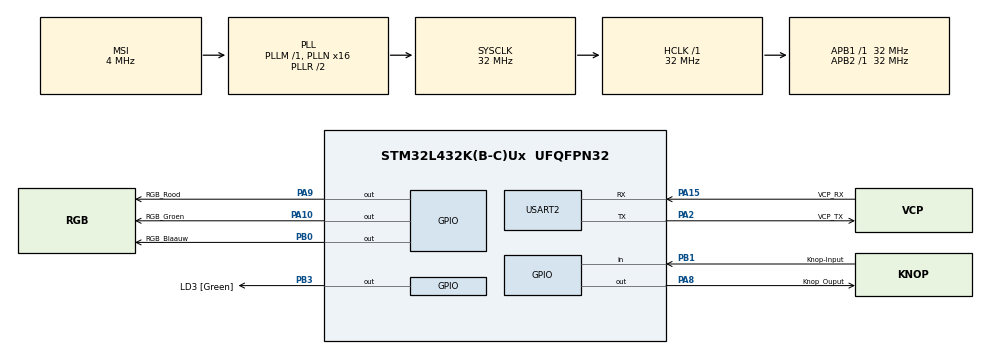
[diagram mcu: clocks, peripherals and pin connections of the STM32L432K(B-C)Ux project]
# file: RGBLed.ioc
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Mcu.Family=STM32L4
Mcu.Name=STM32L432K(B-C)Ux
Mcu.Package=UFQFPN32
NVIC.PriorityGroup=NVIC_PRIORITYGROUP_4
PA0.GPIO_Label=MCO [High speed clock in]
PA0.Mode=HSE-External-Clock-Source-for-LittleOrca
PA0.Signal=RCC_CK_IN
PA10.GPIO_Label=RGB_Groen
PA10.Signal=GPIO_Output
PA13\ (JTMS-SWDIO).GPIO_Label=SWDIO
PA13\ (JTMS-SWDIO).Mode=Serial_Wire
PA13\ (JTMS-SWDIO).Signal=SYS_JTMS-SWDIO
PA14\ (JTCK-SWCLK).GPIO_Label=SWCLK
PA14\ (JTCK-SWCLK).Mode=Serial_Wire
PA14\ (JTCK-SWCLK).Signal=SYS_JTCK-SWCLK
PA15\ (JTDI).GPIO_Label=VCP_RX
PA15\ (JTDI).Mode=Asynchronous
PA15\ (JTDI).Signal=USART2_RX
PA2.GPIO_Label=VCP_TX
PA2.Mode=Asynchronous
PA2.Signal=USART2_TX
PA8.GPIO_Label=Knop_Ouput
PA8.Signal=GPIO_Output
PA9.GPIO_Label=RGB_Rood
PA9.Signal=GPIO_Output
PB0.GPIO_Label=RGB_Blaauw
PB0.Signal=GPIO_Output
PB1.GPIO_Label=Knop-Input
PB1.GPIO_PuPd=GPIO_PULLUP
PB1.Signal=GPIO_Input
PB3\ (JTDO-TRACESWO).GPIO_Label=LD3 [Green]
PB3\ (JTDO-TRACESWO).Signal=GPIO_Output
PC14-OSC32_IN\ (PC14).Mode=LSE-External-Oscillator
PC14-OSC32_IN\ (PC14).Signal=RCC_OSC32_IN
PC15-OSC32_OUT\ (PC15).Mode=LSE-External-Oscillator
PC15-OSC32_OUT\ (PC15).Signal=RCC_OSC32_OUT
ProjectManager.HeapSize=0x200
ProjectManager.StackSize=0x400
ProjectManager.TargetToolchain=STM32CubeIDE
RCC.AHBFreq_Value=32000000
RCC.APB1Freq_Value=32000000
RCC.APB1TimFreq_Value=32000000
RCC.APB2Freq_Value=32000000
RCC.APB2TimFreq_Value=32000000
RCC.CortexFreq_Value=32000000
RCC.HCLKFreq_Value=32000000
RCC.HSE_VALUE=8000000
RCC.HSI16_VALUE=16000000
RCC.HSI48_VALUE=48000000
RCC.HSI_VALUE=16000000
RCC.MSI_VALUE=4000000
RCC.PLLMUL=RCC_PLLMUL_4
RCC.PLLN=16
RCC.SYSCLKFreq_VALUE=32000000
RCC.SYSCLKSource=RCC_SYSCLKSOURCE_PLLCLK
RCC.VCOOutputFreq_Value=64000000
USART2.VirtualMode-Asynchronous=VM_ASYNC
board=NUCLEO-L432KC

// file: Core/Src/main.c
/* USER CODE BEGIN Header */
/**
  ******************************************************************************
  * @file           : main.c
  * @brief          : Main program body
  ******************************************************************************
  * @attention
  *
  * Copyright (c) 2026 STMicroelectronics.
  * All rights reserved.
  *
  * This software is licensed under terms that can be found in the LICENSE file
  * in the root directory of this software component.
  * If no LICENSE file comes with this software, it is provided AS-IS.
  *
  ******************************************************************************
  */
/* USER CODE END Header */
#include "main.h"

UART_HandleTypeDef huart2;

void SystemClock_Config(void);
static void MX_GPIO_Init(void);
static void MX_USART2_UART_Init(void);

/* USER CODE BEGIN 0 */
uint8_t AanOfUit = 0;
uint8_t Losgelaten = GPIO_PIN_SET;
/* USER CODE END 0 */

int main(void)
{

  /* MCU Configuration--------------------------------------------------------*/

  /* Reset of all peripherals, Initializes the Flash interface and the Systick. */
  HAL_Init();

  /* Configure the system clock */
  SystemClock_Config();

  /* Initialize all configured peripherals */
  MX_GPIO_Init();
  MX_USART2_UART_Init();
  /* USER CODE BEGIN 2 */
  void LedAan (){
	  if(HAL_GPIO_ReadPin(Knop_Input_GPIO_Port, Knop_Input_Pin) == GPIO_PIN_RESET){
		  HAL_GPIO_WritePin(GPIOA, Knop_Ouput_Pin, GPIO_PIN_SET);
	  }
	  else {
		  HAL_GPIO_WritePin(GPIOA, Knop_Ouput_Pin, GPIO_PIN_RESET);
	  }

	  uint8_t KnopStatus = HAL_GPIO_ReadPin(Knop_Input_GPIO_Port, Knop_Input_Pin);

	  if(Losgelaten == GPIO_PIN_SET && KnopStatus == GPIO_PIN_RESET){

		  AanOfUit = !AanOfUit;

		  if(AanOfUit){
			  HAL_GPIO_WritePin(GPIOA, RGB_Rood_Pin, GPIO_PIN_SET);
		  }
		  else{
			  HAL_GPIO_WritePin(GPIOA, RGB_Rood_Pin, GPIO_PIN_RESET);
		  }
	  }
	  Losgelaten = KnopStatus;
	  HAL_Delay(20);
  }

  void DiscoDisco (){
	  HAL_GPIO_WritePin(GPIOB, RGB_Blaauw_Pin, GPIO_PIN_RESET);
	  HAL_GPIO_WritePin(GPIOA, RGB_Rood_Pin, GPIO_PIN_SET);
	  HAL_Delay(200);
	  HAL_GPIO_WritePin(GPIOA, RGB_Rood_Pin, GPIO_PIN_RESET);
	  HAL_GPIO_WritePin(GPIOA, RGB_Groen_Pin, GPIO_PIN_SET);
	  HAL_Delay(200);
	  HAL_GPIO_WritePin(GPIOA, RGB_Groen_Pin, GPIO_PIN_RESET);
	  HAL_GPIO_WritePin(GPIOB, RGB_Blaauw_Pin, GPIO_PIN_SET);
	  HAL_Delay(200);
  }
  /* USER CODE END 2 */

  /* Infinite loop */
  /* USER CODE BEGIN WHILE */
  while (1)
  {
	  DiscoDisco();
//	  LedAan();
    /* USER CODE END WHILE */

  }
}

void SystemClock_Config(void)
{
  RCC_OscInitTypeDef RCC_OscInitStruct = {0};
  RCC_ClkInitTypeDef RCC_ClkInitStruct = {0};

  /** Configure the main internal regulator output voltage
  */
  if (HAL_PWREx_ControlVoltageScaling(PWR_REGULATOR_VOLTAGE_SCALE1) != HAL_OK)
  {
    Error_Handler();
  }

  /** Configure LSE Drive Capability
  */
  HAL_PWR_EnableBkUpAccess();
  __HAL_RCC_LSEDRIVE_CONFIG(RCC_LSEDRIVE_LOW);

  /** Initializes the RCC Oscillators according to the specified parameters
  * in the RCC_OscInitTypeDef structure.
  */
  RCC_OscInitStruct.OscillatorType = RCC_OSCILLATORTYPE_LSE|RCC_OSCILLATORTYPE_MSI;
  RCC_OscInitStruct.LSEState = RCC_LSE_ON;
  RCC_OscInitStruct.MSIState = RCC_MSI_ON;
  RCC_OscInitStruct.MSICalibrationValue = 0;
  RCC_OscInitStruct.MSIClockRange = RCC_MSIRANGE_6;
  RCC_OscInitStruct.PLL.PLLState = RCC_PLL_ON;
  RCC_OscInitStruct.PLL.PLLSource = RCC_PLLSOURCE_MSI;
  RCC_OscInitStruct.PLL.PLLM = 1;
  RCC_OscInitStruct.PLL.PLLN = 16;
  RCC_OscInitStruct.PLL.PLLP = RCC_PLLP_DIV7;
  RCC_OscInitStruct.PLL.PLLQ = RCC_PLLQ_DIV2;
  RCC_OscInitStruct.PLL.PLLR = RCC_PLLR_DIV2;
  if (HAL_RCC_OscConfig(&RCC_OscInitStruct) != HAL_OK)
  {
    Error_Handler();
  }

  /** Initializes the CPU, AHB and APB buses clocks
  */
  RCC_ClkInitStruct.ClockType = RCC_CLOCKTYPE_HCLK|RCC_CLOCKTYPE_SYSCLK
                              |RCC_CLOCKTYPE_PCLK1|RCC_CLOCKTYPE_PCLK2;
  RCC_ClkInitStruct.SYSCLKSource = RCC_SYSCLKSOURCE_PLLCLK;
  RCC_ClkInitStruct.AHBCLKDivider = RCC_SYSCLK_DIV1;
  RCC_ClkInitStruct.APB1CLKDivider = RCC_HCLK_DIV1;
  RCC_ClkInitStruct.APB2CLKDivider = RCC_HCLK_DIV1;

  if (HAL_RCC_ClockConfig(&RCC_ClkInitStruct, FLASH_LATENCY_1) != HAL_OK)
  {
    Error_Handler();
  }

  /** Enable MSI Auto calibration
  */
  HAL_RCCEx_EnableMSIPLLMode();
}

static void MX_USART2_UART_Init(void)
{

  huart2.Instance = USART2;
  huart2.Init.BaudRate = 115200;
  huart2.Init.WordLength = UART_WORDLENGTH_8B;
  huart2.Init.StopBits = UART_STOPBITS_1;
  huart2.Init.Parity = UART_PARITY_NONE;
  huart2.Init.Mode = UART_MODE_TX_RX;
  huart2.Init.HwFlowCtl = UART_HWCONTROL_NONE;
  huart2.Init.OverSampling = UART_OVERSAMPLING_16;
  huart2.Init.OneBitSampling = UART_ONE_BIT_SAMPLE_DISABLE;
  huart2.AdvancedInit.AdvFeatureInit = UART_ADVFEATURE_NO_INIT;
  if (HAL_UART_Init(&huart2) != HAL_OK)
  {
    Error_Handler();
  }

}

static void MX_GPIO_Init(void)
{
  GPIO_InitTypeDef GPIO_InitStruct = {0};

  /* GPIO Ports Clock Enable */
  __HAL_RCC_GPIOC_CLK_ENABLE();
  __HAL_RCC_GPIOA_CLK_ENABLE();
  __HAL_RCC_GPIOB_CLK_ENABLE();

  /*Configure GPIO pin Output Level */
  HAL_GPIO_WritePin(GPIOB, RGB_Blaauw_Pin|LD3_Pin, GPIO_PIN_RESET);

  /*Configure GPIO pin Output Level */
  HAL_GPIO_WritePin(GPIOA, Knop_Ouput_Pin|RGB_Rood_Pin|RGB_Groen_Pin, GPIO_PIN_RESET);

  /*Configure GPIO pins : RGB_Blaauw_Pin LD3_Pin */
  GPIO_InitStruct.Pin = RGB_Blaauw_Pin|LD3_Pin;
  GPIO_InitStruct.Mode = GPIO_MODE_OUTPUT_PP;
  GPIO_InitStruct.Pull = GPIO_NOPULL;
  GPIO_InitStruct.Speed = GPIO_SPEED_FREQ_LOW;
  HAL_GPIO_Init(GPIOB, &GPIO_InitStruct);

  /*Configure GPIO pin : Knop_Input_Pin */
  GPIO_InitStruct.Pin = Knop_Input_Pin;
  GPIO_InitStruct.Mode = GPIO_MODE_INPUT;
  GPIO_InitStruct.Pull = GPIO_PULLUP;
  HAL_GPIO_Init(Knop_Input_GPIO_Port, &GPIO_InitStruct);

  /*Configure GPIO pins : Knop_Ouput_Pin RGB_Rood_Pin RGB_Groen_Pin */
  GPIO_InitStruct.Pin = Knop_Ouput_Pin|RGB_Rood_Pin|RGB_Groen_Pin;
  GPIO_InitStruct.Mode = GPIO_MODE_OUTPUT_PP;
  GPIO_InitStruct.Pull = GPIO_NOPULL;
  GPIO_InitStruct.Speed = GPIO_SPEED_FREQ_LOW;
  HAL_GPIO_Init(GPIOA, &GPIO_InitStruct);

}

void Error_Handler(void)
{
  __disable_irq();
  while (1)
  {
  }
}
